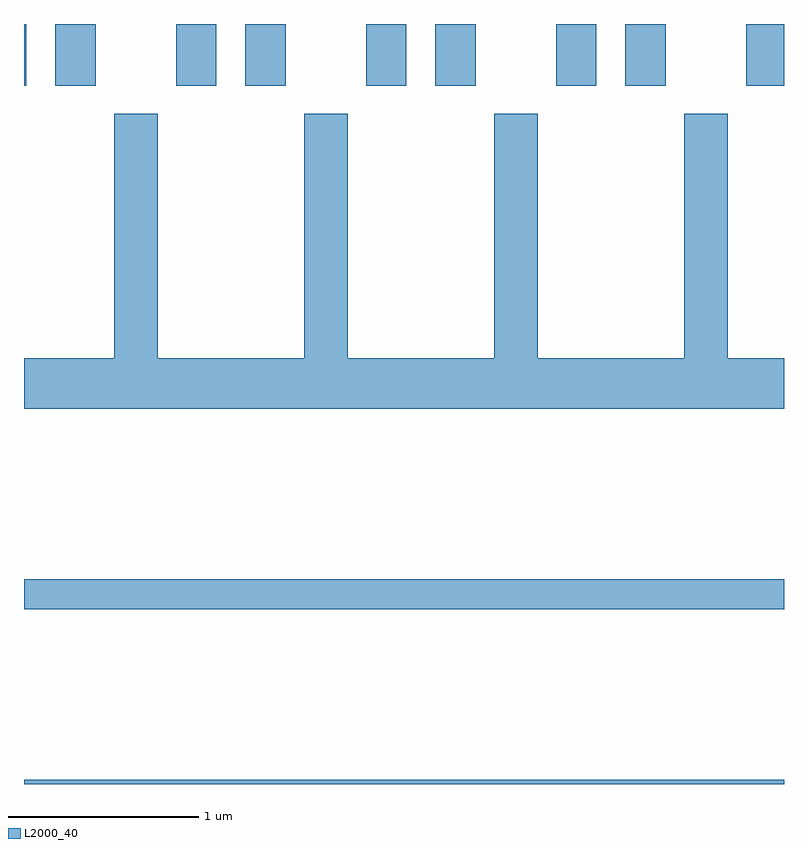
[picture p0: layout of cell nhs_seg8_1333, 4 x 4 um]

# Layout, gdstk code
import gdstk
lib = gdstk.Library(unit=1e-6, precision=1e-09)
def R(c, l, rs):  # rectangles x0, y0, x1, y1
    for r in rs: c.add(gdstk.rectangle(r[:2], r[2:], *l))
def P(c, l, *ps):  # polygons
    for p in ps: c.add(gdstk.Polygon(p, *l))
L2000_40 = (2000, 40)

nhs_seg8_1333 = lib.new_cell('nhs_seg8_1333')
R(nhs_seg8_1333, L2000_40, [(223.611,1934.342,227.611,1934.364), (223.611,1935.261,227.611,1935.419), (223.611,1938.016,223.624,1938.342), (223.776,1938.016,223.989,1938.342), (224.411,1938.016,224.624,1938.342), (224.776,1938.016,224.989,1938.342), (225.411,1938.016,225.624,1938.342), (225.776,1938.016,225.989,1938.342), (226.411,1938.016,226.624,1938.342), (226.776,1938.016,226.989,1938.342), (227.411,1938.016,227.611,1938.342)])
P(nhs_seg8_1333, L2000_40, [(227.611,1936.584),(227.314,1936.584),(227.314,1937.869),(227.086,1937.869),(227.086,1936.584),(226.314,1936.584),(226.314,1937.869),(226.086,1937.869),(226.086,1936.584),(225.314,1936.584),(225.314,1937.869),(225.086,1937.869),(225.086,1936.584),(224.314,1936.584),(224.314,1937.869),(224.086,1937.869),(224.086,1936.584),(223.611,1936.584),(223.611,1936.316),(227.611,1936.316)])

lib.write_gds('nhs_seg8_1333.gds')
